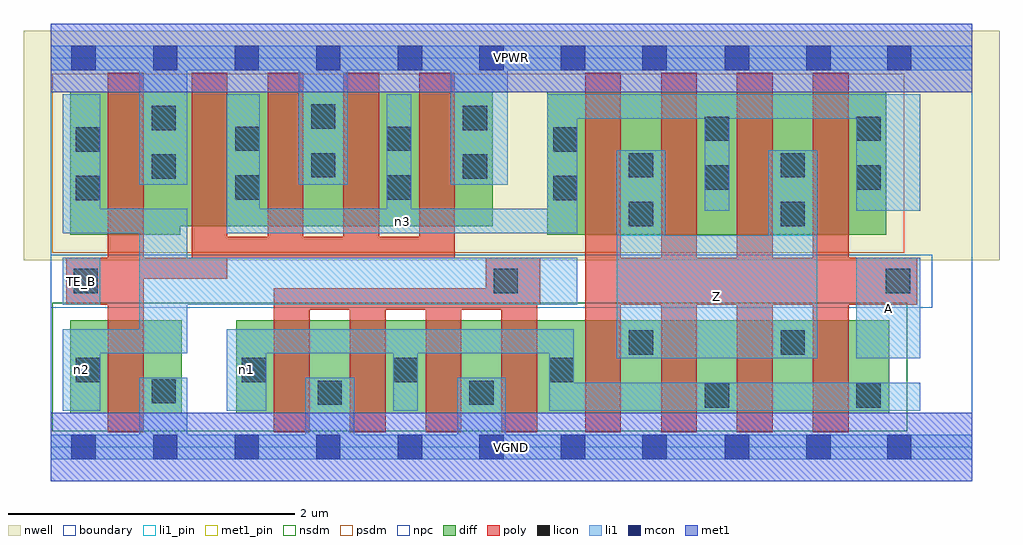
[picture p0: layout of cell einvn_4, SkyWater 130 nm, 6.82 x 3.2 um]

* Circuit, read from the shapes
.subckt einvn_4 A TE_B VGND VPWR Z n1 n2 n3
XM1 VGND TE_B n2 VSUBS sky130_fd_pr__nfet_01v8 w=0.65 l=0.25
XM2 VGND n2 n1 VSUBS sky130_fd_pr__nfet_01v8 w=0.65 l=0.25 m=4
XM3 Z A n1 VSUBS sky130_fd_pr__nfet_01v8 w=0.65 l=0.25 m=4
XM4 VPWR TE_B n2 n4 sky130_fd_pr__pfet_01v8 w=1 l=0.25
XM5 n3 TE_B VPWR n4 sky130_fd_pr__pfet_01v8 w=0.94 l=0.25 m=4
XM6 Z A n3 n4 sky130_fd_pr__pfet_01v8 w=1 l=0.25 m=4
.ends

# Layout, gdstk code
import gdstk
lib = gdstk.Library(unit=1e-6, precision=1e-09)
def R(c, l, rs):  # rectangles x0, y0, x1, y1
    for r in rs: c.add(gdstk.rectangle(r[:2], r[2:], *l))
def A(c, l, x, y, w, h, nx, ny, dx, dy):  # array of equal rectangles
    R(c, l, [(x+i*dx, y+j*dy, x+i*dx+w, y+j*dy+h) for i in range(nx) for j in range(ny)])
nwell = (64, 20)
diff = (65, 20)
poly = (66, 20)
licon = (66, 44)
li1_pin = (67, 16)
li1 = (67, 20)
mcon = (67, 44)
met1_pin = (68, 16)
met1 = (68, 20)
nsdm = (93, 44)
psdm = (94, 20)
npc = (95, 20)
boundary = (235, 4)

einvn_4 = lib.new_cell('einvn_4')
R(einvn_4, nwell, [(-0.19,1.305,6.63,2.91), (0,1.305,6.44,2.91)])
R(einvn_4, diff, [(0.135,0.235,0.915,0.885), (1.295,0.235,5.86,0.885), (0.135,1.485,0.905,2.485), (3.47,1.485,5.84,2.485), (0.135,1.545,3.09,2.485)])
A(einvn_4, poly, 1.56, 0.105, 0.25, 1.005, 3, 1, 0.53, 0)
A(einvn_4, poly, 3.735, 0.105, 0.25, 2.51, 4, 1, 0.53, 0)
A(einvn_4, poly, 1.515, 1.32, 0.25, 1.295, 3, 1, 0.53, 0)
R(einvn_4, poly, [(0.4,0.105,0.65,2.615), (3.15,0.105,3.4,1.325), (1.56,0.96,3.4,1.11), (0.11,0.995,0.65,1.325), (3.04,0.995,3.42,1.325), (3.735,0.995,6.055,1.325), (0.11,1.175,1.235,1.325), (0.985,1.175,1.235,2.615), (0.985,1.32,2.825,1.47)])
R(einvn_4, licon, [(4.57,0.275,4.74,0.445), (5.63,0.275,5.8,0.445), (1.865,0.295,2.035,0.465), (2.925,0.295,3.095,0.465), (0.705,0.305,0.875,0.475), (0.175,0.455,0.345,0.625), (1.335,0.455,1.505,0.625), (2.395,0.455,2.565,0.625), (3.485,0.455,3.655,0.625), (4.04,0.645,4.21,0.815), (5.1,0.645,5.27,0.815), (0.16,1.075,0.33,1.245), (3.095,1.075,3.265,1.245), (5.835,1.075,6.005,1.245), (4.04,1.545,4.21,1.715), (5.1,1.545,5.27,1.715), (0.175,1.725,0.345,1.895), (3.51,1.725,3.68,1.895), (1.29,1.73,1.46,1.9), (2.35,1.73,2.52,1.9), (4.57,1.8,4.74,1.97), (5.63,1.8,5.8,1.97), (0.705,1.875,0.875,2.045), (2.88,1.875,3.05,2.045), (1.82,1.885,1.99,2.055), (4.04,1.885,4.21,2.055), (5.1,1.885,5.27,2.055), (0.175,2.065,0.345,2.235), (3.51,2.065,3.68,2.235), (1.29,2.07,1.46,2.24), (2.35,2.07,2.52,2.24), (4.57,2.14,4.74,2.31), (5.63,2.14,5.8,2.31), (0.705,2.215,0.875,2.385), (2.88,2.215,3.05,2.385), (1.82,2.225,1.99,2.395)])
R(einvn_4, li1_pin, [(3.955,0.62,5.355,1.48), (5.63,0.62,6.075,1.325), (0.085,0.995,0.345,1.325)])
R(einvn_4, li1, [(0,-0.085,6.44,0.085), (0.62,-0.085,0.955,0.485), (1.78,-0.085,2.12,0.485), (2.84,-0.085,3.18,0.485), (0.085,0.255,0.345,0.825), (1.23,0.255,1.505,0.825), (2.395,0.255,2.565,0.825), (3.485,0.255,3.655,0.825), (3.485,0.255,6.075,0.45), (3.955,0.62,5.355,1.48), (3.955,0.62,4.295,2.075), (5.015,0.62,5.355,2.075), (5.63,0.62,6.075,1.325), (0.085,0.655,0.955,0.825), (0.62,0.655,0.955,1.665), (1.23,0.655,3.655,0.825), (0.085,0.995,0.345,1.325), (0.62,0.995,3.68,1.325), (0.085,1.495,0.955,1.665), (0.085,1.495,0.345,2.465), (1.23,1.495,3.68,1.665), (1.23,1.495,1.46,2.465), (2.35,1.495,2.52,2.465), (3.47,1.495,3.68,2.465), (4.57,1.65,4.74,2.465), (5.63,1.65,6.075,2.465), (0.62,1.835,0.955,2.805), (1.735,1.835,2.075,2.805), (2.795,1.835,3.195,2.805), (3.47,2.295,6.075,2.465), (0,2.635,6.44,2.805)])
A(einvn_4, mcon, 0.145, -0.085, 0.17, 0.17, 8, 2, 0.57, 2.72)
R(einvn_4, mcon, [(4.71,-0.085,4.88,0.085), (5.28,-0.085,5.45,0.085), (5.845,-0.085,6.015,0.085), (4.71,2.635,4.88,2.805), (5.28,2.635,5.45,2.805), (5.845,2.635,6.015,2.805)])
R(einvn_4, met1_pin, [(0,-0.24,6.44,0.24), (0,2.48,6.44,2.96)])
R(einvn_4, met1, [(0,-0.24,6.44,0.24), (0,2.48,6.44,2.96)])
R(einvn_4, nsdm, [(0.01,0.11,5.985,1.01)])
R(einvn_4, psdm, [(0.01,1.36,5.965,2.61)])
R(einvn_4, npc, [(0,0.975,6.16,1.345)])
R(einvn_4, boundary, [(0,0,6.44,2.72)])
einvn_4.add(gdstk.Label('A', (5.852,0.972), layer=67, texttype=5))
einvn_4.add(gdstk.Label('TE_B', (0.215,1.16), layer=67, texttype=5))
einvn_4.add(gdstk.Label('Z', (4.655,1.05), layer=67, texttype=5))
einvn_4.add(gdstk.Label('n1', (1.367,0.54), layer=67, texttype=5))
einvn_4.add(gdstk.Label('n2', (0.215,0.54), layer=67, texttype=5))
einvn_4.add(gdstk.Label('n3', (2.455,1.58), layer=67, texttype=5))
einvn_4.add(gdstk.Label('VPWR', (3.22,2.72), layer=68, texttype=5))
einvn_4.add(gdstk.Label('VGND', (3.22,0), layer=68, texttype=5))
einvn_4.add(gdstk.Label('A', (5.852,0.972), layer=67, texttype=16))
einvn_4.add(gdstk.Label('TE_B', (0.215,1.16), layer=67, texttype=16))
einvn_4.add(gdstk.Label('Z', (4.655,1.05), layer=67, texttype=16))
einvn_4.add(gdstk.Label('VPWR', (3.22,2.72), layer=68, texttype=16))
einvn_4.add(gdstk.Label('VGND', (3.22,0), layer=68, texttype=16))

lib.write_gds('einvn_4.gds')
